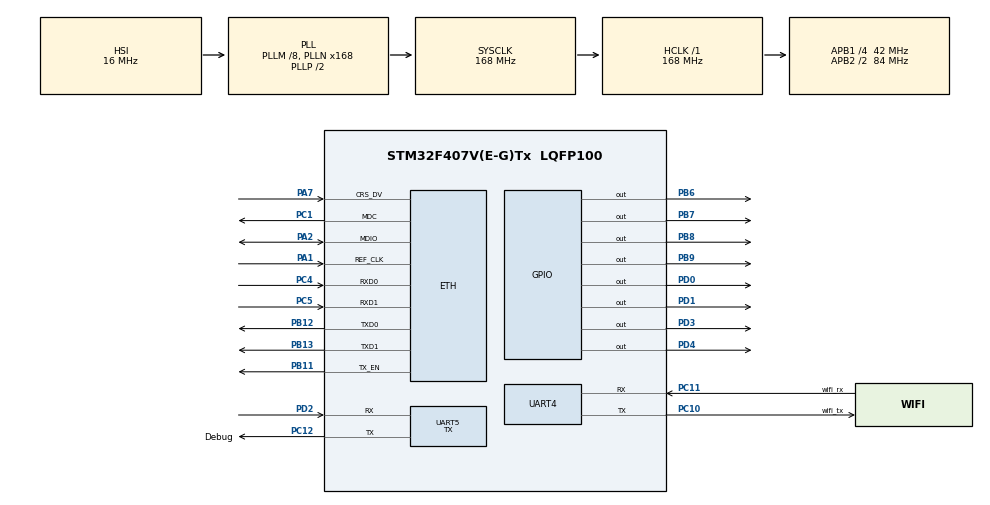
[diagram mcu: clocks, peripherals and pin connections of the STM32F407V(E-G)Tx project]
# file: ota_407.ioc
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Dma.Request0=UART4_RX
Dma.UART4_RX.0.Direction=DMA_PERIPH_TO_MEMORY
Dma.UART4_RX.0.FIFOMode=DMA_FIFOMODE_DISABLE
Dma.UART4_RX.0.Instance=DMA1_Stream2
Dma.UART4_RX.0.MemDataAlignment=DMA_MDATAALIGN_BYTE
Dma.UART4_RX.0.MemInc=DMA_MINC_ENABLE
Dma.UART4_RX.0.Mode=DMA_NORMAL
Dma.UART4_RX.0.PeriphDataAlignment=DMA_PDATAALIGN_BYTE
Dma.UART4_RX.0.PeriphInc=DMA_PINC_DISABLE
Dma.UART4_RX.0.Priority=DMA_PRIORITY_LOW
ETH.MACAddr=C0\:25\:A5\:7D\:C5\:85
ETH.MediaInterface=ETH_MEDIA_INTERFACE_RMII
ETH.PHY_Name_RMII=DP83848_PHY_ADDRESS
ETH.RxMode=ETH_RXINTERRUPT_MODE
FREERTOS.Tasks01=defaultTask,24,2256,StartDefaultTask,Default,NULL,Dynamic,NULL,NULL
FREERTOS.configTOTAL_HEAP_SIZE=0xC100
FREERTOS.configUSE_IDLE_HOOK=1
FREERTOS.configUSE_NEWLIB_REENTRANT=1
FREERTOS.configUSE_TICK_HOOK=1
LWIP.CHECKSUM_CHECK_UDP=1
LWIP.CHECKSUM_GEN_UDP=1
LWIP.GATEWAY_ADDRESS=192.168.020.001
LWIP.IP_ADDRESS=192.168.020.191
LWIP.LWIP_DHCP=0
LWIP.LWIP_TFTP=1
LWIP.NETMASK_ADDRESS=255.255.255.000
LWIP.Version=v2.1.2_Cube
Mcu.Family=STM32F4
Mcu.Name=STM32F407V(E-G)Tx
Mcu.Package=LQFP100
NVIC.DMA1_Stream2_IRQn=true\:5\:0\:false\:false\:true\:true\:false\:true
NVIC.ETH_IRQn=true\:5\:0\:false\:false\:true\:true\:false\:true
NVIC.PriorityGroup=NVIC_PRIORITYGROUP_4
NVIC.UART4_IRQn=true\:5\:0\:false\:false\:true\:true\:true\:true
PA1.Mode=RMII
PA1.Signal=ETH_REF_CLK
PA2.Mode=RMII
PA2.Signal=ETH_MDIO
PA7.Mode=RMII
PA7.Signal=ETH_CRS_DV
PB11.Mode=RMII
PB11.Signal=ETH_TX_EN
PB12.Mode=RMII
PB12.Signal=ETH_TXD0
PB13.Mode=RMII
PB13.Signal=ETH_TXD1
PB6.Signal=GPIO_Output
PB7.Signal=GPIO_Output
PB8.Signal=GPIO_Output
PB9.Signal=GPIO_Output
PC1.Mode=RMII
PC1.Signal=ETH_MDC
PC10.GPIO_Label=wifi_tx
PC10.Mode=Asynchronous
PC10.Signal=UART4_TX
PC11.GPIO_Label=wifi_rx
PC11.Mode=Asynchronous
PC11.Signal=UART4_RX
PC12.GPIO_Label=Debug
PC12.Mode=Asynchronous
PC12.Signal=UART5_TX
PC4.Mode=RMII
PC4.Signal=ETH_RXD0
PC5.Mode=RMII
PC5.Signal=ETH_RXD1
PD0.Signal=GPIO_Output
PD1.Signal=GPIO_Output
PD2.Mode=Asynchronous
PD2.Signal=UART5_RX
PD3.Signal=GPIO_Output
PD4.Signal=GPIO_Output
ProjectManager.HeapSize=0x200
ProjectManager.StackSize=0x400
ProjectManager.TargetToolchain=STM32CubeIDE
RCC.48MHZClocksFreq_Value=84000000
RCC.AHBFreq_Value=168000000
RCC.APB1CLKDivider=RCC_HCLK_DIV4
RCC.APB1Freq_Value=42000000
RCC.APB1TimFreq_Value=84000000
RCC.APB2CLKDivider=RCC_HCLK_DIV2
RCC.APB2Freq_Value=84000000
RCC.APB2TimFreq_Value=168000000
RCC.CortexFreq_Value=168000000
RCC.HCLKFreq_Value=168000000
RCC.HSE_VALUE=25000000
RCC.HSI_VALUE=16000000
RCC.LSE_VALUE=32768
RCC.PLLM=8
RCC.PLLN=168
RCC.SYSCLKFreq_VALUE=168000000
RCC.SYSCLKSource=RCC_SYSCLKSOURCE_PLLCLK
RCC.VCOOutputFreq_Value=336000000
UART4.VirtualMode=Asynchronous
UART5.Mode=MODE_TX
UART5.VirtualMode=Asynchronous
VP_FREERTOS_VS_CMSIS_V2.Mode=CMSIS_V2
VP_LWIP_VS_Enabled.Mode=Enabled
board=custom

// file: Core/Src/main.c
/* USER CODE BEGIN Header */
/**
  ******************************************************************************
  * @file           : main.c
  * @brief          : Main program body
  ******************************************************************************
  * @attention
  *
  * Copyright (c) 2023 STMicroelectronics.
  * All rights reserved.
  *
  * This software is licensed under terms that can be found in the LICENSE file
  * in the root directory of this software component.
  * If no LICENSE file comes with this software, it is provided AS-IS.
  *
  ******************************************************************************
  */
/* USER CODE END Header */
#include "main.h"
#include "cmsis_os.h"
#include "lwip.h"

/* USER CODE BEGIN Includes */
#include "tftp_server.h"
/* USER CODE END Includes */

UART_HandleTypeDef huart4;
UART_HandleTypeDef huart5;
DMA_HandleTypeDef hdma_uart4_rx;

/* Definitions for defaultTask */
osThreadId_t defaultTaskHandle;
const osThreadAttr_t defaultTask_attributes = {
  .name = "defaultTask",
  .stack_size = 2256 * 4,
  .priority = (osPriority_t) osPriorityNormal,
};

void SystemClock_Config(void);
static void MX_GPIO_Init(void);
static void MX_DMA_Init(void);
static void MX_UART4_Init(void);
static void MX_UART5_Init(void);
void StartDefaultTask(void *argument);

/* USER CODE BEGIN 0 */

#define FLASH_PROGRAM_ADDR						(0x08020000)
#define FLASH_JUMP_ADDR							(FLASH_PROGRAM_ADDR)
#define FLASH_OTAFLAG_ADDR						(0x0805FFF0)
#define FLASH_FILESIZE_ADDR						(0x0805FF00)
typedef  void (*pFunction)(void);
pFunction jump_to_application;
uint32_t jump_address;
/*!
* @brief 跳转到应用程序段
*        执行条件：无
* @param[in1] : 用户代码起始地址.
*
* @retval: �?????
*/
void jump_to_app(uint32_t app_addr)
{
    //printf("app_addr=%X=%X=%X=%X\n",app_addr, *(__IO uint32_t*)app_addr, *(__IO uint32_t*)(app_addr+4), ((*(__IO uint32_t*)app_addr) & 0x2FFE0000 ));
    /* Check if valid stack address (RAM address) then jump to user application */
    //if (((*(__IO uint32_t*)app_addr) & 0x2FFE0000 ) == 0x20020000)
    {
      /* Jump to user application */
      jump_address = *((__IO uint32_t*) (app_addr + 4));
      jump_to_application = (pFunction) jump_address;

      /* Initialize user application's Stack Pointer */
      __set_MSP(*(__IO uint32_t*) jump_address);
      jump_to_application();
    }

}

/* USER CODE END 0 */

int main(void)
{

  /* MCU Configuration--------------------------------------------------------*/

  /* Reset of all peripherals, Initializes the Flash interface and the Systick. */
  HAL_Init();

  /* USER CODE BEGIN Init */
  if(*(__IO uint8_t*)(FLASH_OTAFLAG_ADDR) == 0x33)
  {
	  if(((FLASH_JUMP_ADDR+4)&0xFF000000)==0x08000000) //Judge if start at 0X08XXXXXX.
	{

		jump_to_app(FLASH_JUMP_ADDR);//Load APP
	}
  }
  /* USER CODE END Init */

  /* Configure the system clock */
  SystemClock_Config();

  /* Initialize all configured peripherals */
  MX_GPIO_Init();
  MX_DMA_Init();
  MX_UART4_Init();
  MX_UART5_Init();
  /* USER CODE BEGIN 2 */
  printf("start bootloader...\n");

  /* USER CODE END 2 */

  /* Init scheduler */
  osKernelInitialize();

  /* Create the thread(s) */
  /* creation of defaultTask */
  defaultTaskHandle = osThreadNew(StartDefaultTask, NULL, &defaultTask_attributes);

  /* Start scheduler */
  osKernelStart();

  /* We should never get here as control is now taken by the scheduler */
  /* Infinite loop */
  while (1)
  {

  }
}

void SystemClock_Config(void)
{
  RCC_OscInitTypeDef RCC_OscInitStruct = {0};
  RCC_ClkInitTypeDef RCC_ClkInitStruct = {0};

  /** Configure the main internal regulator output voltage
  */
  __HAL_RCC_PWR_CLK_ENABLE();
  __HAL_PWR_VOLTAGESCALING_CONFIG(PWR_REGULATOR_VOLTAGE_SCALE1);
  /** Initializes the RCC Oscillators according to the specified parameters
  * in the RCC_OscInitTypeDef structure.
  */
  RCC_OscInitStruct.OscillatorType = RCC_OSCILLATORTYPE_HSI;
  RCC_OscInitStruct.HSIState = RCC_HSI_ON;
  RCC_OscInitStruct.HSICalibrationValue = RCC_HSICALIBRATION_DEFAULT;
  RCC_OscInitStruct.PLL.PLLState = RCC_PLL_ON;
  RCC_OscInitStruct.PLL.PLLSource = RCC_PLLSOURCE_HSI;
  RCC_OscInitStruct.PLL.PLLM = 8;
  RCC_OscInitStruct.PLL.PLLN = 168;
  RCC_OscInitStruct.PLL.PLLP = RCC_PLLP_DIV2;
  RCC_OscInitStruct.PLL.PLLQ = 4;
  if (HAL_RCC_OscConfig(&RCC_OscInitStruct) != HAL_OK)
  {
    Error_Handler();
  }
  /** Initializes the CPU, AHB and APB buses clocks
  */
  RCC_ClkInitStruct.ClockType = RCC_CLOCKTYPE_HCLK|RCC_CLOCKTYPE_SYSCLK
                              |RCC_CLOCKTYPE_PCLK1|RCC_CLOCKTYPE_PCLK2;
  RCC_ClkInitStruct.SYSCLKSource = RCC_SYSCLKSOURCE_PLLCLK;
  RCC_ClkInitStruct.AHBCLKDivider = RCC_SYSCLK_DIV1;
  RCC_ClkInitStruct.APB1CLKDivider = RCC_HCLK_DIV4;
  RCC_ClkInitStruct.APB2CLKDivider = RCC_HCLK_DIV2;

  if (HAL_RCC_ClockConfig(&RCC_ClkInitStruct, FLASH_LATENCY_5) != HAL_OK)
  {
    Error_Handler();
  }
}

static void MX_UART4_Init(void)
{

  huart4.Instance = UART4;
  huart4.Init.BaudRate = 115200;
  huart4.Init.WordLength = UART_WORDLENGTH_8B;
  huart4.Init.StopBits = UART_STOPBITS_1;
  huart4.Init.Parity = UART_PARITY_NONE;
  huart4.Init.Mode = UART_MODE_TX_RX;
  huart4.Init.HwFlowCtl = UART_HWCONTROL_NONE;
  huart4.Init.OverSampling = UART_OVERSAMPLING_16;
  if (HAL_UART_Init(&huart4) != HAL_OK)
  {
    Error_Handler();
  }
  /* USER CODE BEGIN UART4_Init 2 */
  __HAL_UART_ENABLE_IT(&huart4, UART_IT_IDLE);
   HAL_UART_Receive_DMA(&huart4, uart4_rx_buffer, UART4_BUF_SIZE);//打开DMA接收，数据存入rx_buffer数组中�??
  /* USER CODE END UART4_Init 2 */

}

static void MX_UART5_Init(void)
{

  huart5.Instance = UART5;
  huart5.Init.BaudRate = 115200;
  huart5.Init.WordLength = UART_WORDLENGTH_8B;
  huart5.Init.StopBits = UART_STOPBITS_1;
  huart5.Init.Parity = UART_PARITY_NONE;
  huart5.Init.Mode = UART_MODE_TX;
  huart5.Init.HwFlowCtl = UART_HWCONTROL_NONE;
  huart5.Init.OverSampling = UART_OVERSAMPLING_16;
  if (HAL_UART_Init(&huart5) != HAL_OK)
  {
    Error_Handler();
  }

}

static void MX_DMA_Init(void)
{

  /* DMA controller clock enable */
  __HAL_RCC_DMA1_CLK_ENABLE();

  /* DMA interrupt init */
  /* DMA1_Stream2_IRQn interrupt configuration */
  HAL_NVIC_SetPriority(DMA1_Stream2_IRQn, 5, 0);
  HAL_NVIC_EnableIRQ(DMA1_Stream2_IRQn);

}

static void MX_GPIO_Init(void)
{
  GPIO_InitTypeDef GPIO_InitStruct = {0};

  /* GPIO Ports Clock Enable */
  __HAL_RCC_GPIOC_CLK_ENABLE();
  __HAL_RCC_GPIOA_CLK_ENABLE();
  __HAL_RCC_GPIOB_CLK_ENABLE();
  __HAL_RCC_GPIOD_CLK_ENABLE();

  /*Configure GPIO pin Output Level */
  HAL_GPIO_WritePin(GPIOD, GPIO_PIN_0|GPIO_PIN_1|GPIO_PIN_3|GPIO_PIN_4, GPIO_PIN_RESET);

  /*Configure GPIO pin Output Level */
  HAL_GPIO_WritePin(GPIOB, GPIO_PIN_6|GPIO_PIN_7|GPIO_PIN_8|GPIO_PIN_9, GPIO_PIN_RESET);

  /*Configure GPIO pins : PD0 PD1 PD3 PD4 */
  GPIO_InitStruct.Pin = GPIO_PIN_0|GPIO_PIN_1|GPIO_PIN_3|GPIO_PIN_4;
  GPIO_InitStruct.Mode = GPIO_MODE_OUTPUT_PP;
  GPIO_InitStruct.Pull = GPIO_NOPULL;
  GPIO_InitStruct.Speed = GPIO_SPEED_FREQ_LOW;
  HAL_GPIO_Init(GPIOD, &GPIO_InitStruct);

  /*Configure GPIO pins : PB6 PB7 PB8 PB9 */
  GPIO_InitStruct.Pin = GPIO_PIN_6|GPIO_PIN_7|GPIO_PIN_8|GPIO_PIN_9;
  GPIO_InitStruct.Mode = GPIO_MODE_OUTPUT_PP;
  GPIO_InitStruct.Pull = GPIO_NOPULL;
  GPIO_InitStruct.Speed = GPIO_SPEED_FREQ_LOW;
  HAL_GPIO_Init(GPIOB, &GPIO_InitStruct);

}

/* USER CODE BEGIN 4 */

uint32_t writedata_to_flash(uint8_t *data, uint32_t len, uint32_t address)
{
	uint32_t i = 0, temp;

	HAL_FLASH_Unlock();
	for(i = 0; i < len; i++)
	{
		if (HAL_FLASH_Program(FLASH_TYPEPROGRAM_BYTE, (uint32_t)address, *data) == HAL_OK)
		{
			address = address + 1;
			data = data + 1;
		}
		else
		{
			return -1;
		}

	}

	HAL_FLASH_Lock();

	return address;
 }

int8_t erase_flash(uint32_t sector_start, uint32_t sector_end)
{
	 FLASH_EraseInitTypeDef EraseInitStruct;
	 uint32_t SECTORError = 0;
     // sector 5  0x08020000 - 0x0803FFFF
	 // sector 6  0x08040000 - 0x0805FFFF
	 // sector 7  0x08060000 - 0x0807FFFF
	 // sector 8  0x08080000 - 0x0809FFFF
	 // sector 9  0x080A0000 - 0x080BFFFF
	 // sector 10 0x080C0000 - 0x080DFFFF
	 // sector 11 0x080E0000 - 0x080FFFFF
	 HAL_FLASH_Unlock();
	 EraseInitStruct.TypeErase     = FLASH_TYPEERASE_SECTORS;
	 EraseInitStruct.VoltageRange  = FLASH_VOLTAGE_RANGE_3;
	 EraseInitStruct.Sector        = sector_start;
	 EraseInitStruct.NbSectors     = sector_end;
	 if (HAL_FLASHEx_Erase(&EraseInitStruct, &SECTORError) != HAL_OK)
	 {
		 return -1;
	 }
	 HAL_FLASH_Lock();
 }

#include <stdio.h>
#include <stdlib.h>
#include <string.h>
#include <errno.h>
#include "md5.h"

uint32_t readsize = 0;
uint32_t writesize = 0;
uint8_t cmdflag = 0;
static void* tftp_open(const char* fname, const char* mode, u8_t is_write, u32_t filesize)
{
  LWIP_UNUSED_ARG(mode);
  if(*(uint8_t*)fname == 'E')
	  cmdflag = 1;
  else if(*(uint8_t*)fname == 'R')
	  cmdflag = 2;
  else if(*(uint8_t*)fname == 'W')
	  cmdflag = 3;
  else if(*(uint8_t*)fname == 'M')
  	  cmdflag = 4;
  else if(*(uint8_t*)fname == 'D')
  	  cmdflag = 5;
  else if(*(uint8_t*)fname == 'F')
  	  cmdflag = 6;
  else if(*(uint8_t*)fname == 'A')
  	  cmdflag = 7;
  else if(*(uint8_t*)fname == 'S')
  	  cmdflag = 8;
  printf("send start:%s is_write = %d cmdflag = %d - %c\n", fname, is_write, cmdflag, *(uint8_t*)fname);
  return 1;
}

static void tftp_close(void* handle)
{
	printf("send over\n");
}

uint32_t readaddr = 0;
unsigned char decrypt[16];
static int tftp_read(void* handle, void* buf, int bytes)
{
	if(cmdflag == 0x02){
		if(readaddr < (readsize - 512) )
		{
			memcpy(buf, FLASH_PROGRAM_ADDR + readaddr, 512);
			readaddr += 512;
			bytes = 512;
		}
		else
		{
			memcpy(buf, FLASH_PROGRAM_ADDR + readaddr, readsize - readaddr);
			readaddr += readsize - readaddr;
			bytes = readsize - readaddr;
			printf("read over readaddr = %d , bytes = %d\n", readaddr, bytes);
			readaddr = 0;
			cmdflag = 0;
		}
	}
	else if(cmdflag == 0x07){
		if(readaddr < (0xE0000 - 512) )
		{
			memcpy(buf, FLASH_PROGRAM_ADDR + readaddr, 512);
			readaddr += 512;
			bytes = 512;
		}
		else
		{
			memcpy(buf, FLASH_PROGRAM_ADDR + readaddr, 0xE0000 - readaddr);
			readaddr += 0xE0000 - readaddr;
			bytes = 0xE0000 - readaddr;
			printf("read over readaddr = %d , bytes = %d\n", readaddr, bytes);
			readaddr = 0;
			cmdflag = 0;
		}
	}
	else if(cmdflag == 0x04){
		printf("start md5 checksum\n");
		memcpy(buf, "md5", 3);
		bytes = 3;

	}
	else if(cmdflag == 0x05){
		printf("return md5 checksum\n");
		for(int i=0; i<16; i++) {
			printf("%02x", decrypt[i]);
		}
		printf("\n");
		memcpy(buf, decrypt, 16);
		bytes = 16;

	}
	else if(cmdflag == 0x06){
		uint32_t filebytes = 0;
		uint8_t numbuf[12];
	    bzero(numbuf, sizeof(numbuf));
		filebytes = *(__IO uint32_t*)(FLASH_FILESIZE_ADDR);
		sprintf(numbuf, "%d", filebytes);
		printf("filebytes = %d\n", filebytes, filebytes);
		memcpy(buf, numbuf, strlen(numbuf));
		bytes = strlen(numbuf);
		cmdflag = 0;
	}
	else if(cmdflag == 0x01){
		printf("start erase\n");
		memcpy(buf, "erase", 6);
		bytes = 6;

	}
	return bytes;
}

uint8_t tftpbuf[516];
uint8_t k = 0;
uint8_t ota_flag = 0;
uint16_t tftpsn = 0;
uint32_t flashaddr = FLASH_PROGRAM_ADDR;
uint32_t count = 0;

static int tftp_write(void* handle, struct pbuf* p)
{
	if(cmdflag == 0x03){
		ota_flag = 0x33;
	}
	else if(cmdflag == 0x08){
		ota_flag = 0x77;
	}
	else
	{
		memcpy(tftpbuf, p->payload, p->len);
		flashaddr = writedata_to_flash(tftpbuf, p->len, flashaddr);
		count = count + p->len;
		if(p->len < 512)
		{
			printf("count = %d len = %d\n", count, p->len);
			ota_flag = 0x3F;
			writesize = count;
			readsize = count;
			count = 0;
			cmdflag = 0;
		}
	}

    return 0;
}

const struct tftp_context tftp = {
		tftp_open,
		tftp_close,
		tftp_read,
		tftp_write,
};

#ifdef __GNUC__
  /* With GCC/RAISONANCE, small printf (option LD Linker->Libraries->Small printf
     set to 'Yes') calls __io_putchar() */
  #define PUTCHAR_PROTOTYPE int __io_putchar(int ch)
#else
  #define PUTCHAR_PROTOTYPE int fputc(int ch, FILE *f)
#endif /* __GNUC__ */
/**
  * @brief  Retargets the C library printf function to the USART.
  * @param  None
  * @retval None
  */
PUTCHAR_PROTOTYPE
{
  /* Place your implementation of fputc here */
  /* e.g. write a character to the EVAL_COM1 and Loop until the end of transmission */
  HAL_UART_Transmit(&huart5, (uint8_t *)&ch, 1, 0xFFFF);

  return ch;
}

volatile  uint16_t  uart4_rx_len;
volatile  uint8_t   uart4_recv_end_flag;
          uint8_t   uart4_rx_buffer[UART4_BUF_SIZE];
TaskHandle_t   wifiClientTaskHandle;

char * at_okip_str = "OKIP\r\n";
char * at_busy_str = "busy p...\r\n";
char * at_ok_str = "OK\r\n";
char * at_error_str = "ERROR\r\n";
char * at_conn_str = "CONNECT\r\n";
char * at_aready_conn_str = "ALREADY CONNECTED\r\n";
char * at_closed_str = "CLOSED\r\n";
char * at_wifi_disconn_str = "WIFI DISCONNECT\r\n"; // 5 disconnect AP
char * at_wifi_conn_str = "WIFI CONNECT\r\n"; // 5 disconnect AP
char * at_wifi_getip_str = "WIFI GOT IP\r\n"; // 2 connect AP

char * at_cwmode_val1_str = "+CWMODE:1\r\n";
char * at_cwmode_val2_str = "+CWMODE:2\r\n";
char * at_cwmode_val3_str = "+CWMODE:3\r\n";

char * at_cipmode_val1_str = "+CIPMODE:1\r\n";
char * at_cipmode_val0_str = "+CIPMODE:0\r\n";

char * at_cifsr_ack_ip_str = "+CIFSR:STAIP,\"0.0.0.0\"\r\n";

char * at_cipstatus0_str = ",0\r\n";
char * at_wifi_status2_str = "STATUS:2\r\n"; // 2 connect AP
char * at_wifi_status3_str = "STATUS:3\r\n"; // 3 connect TCP
char * at_wifi_status4_str = "STATUS:4\r\n"; // 4 disconnect TCP
char * at_wifi_status5_str = "STATUS:5\r\n"; // 5 disconnect AP

char ssid_buf[20];
char pwd_buf[20];
char cwjap_buf[100];
char * at_cwjap_ack1_str = "+CWJAP:1\r\n"; // 1 timeout
char * at_cwjap_ack2_str = "+CWJAP:2\r\n"; // 2 passwd error,
char * at_cwjap_ack3_str = "+CWJAP:3\r\n"; // 3 no AP,
char * at_cwjap_ack4_str = "+CWJAP:4\r\n"; // 4 connect fail

char ip_buf[16];
char sip_buf[16];
char port_buf[6];
char cipstart_buf[100];

uint8_t at_rxbuf[UART4_BUF_SIZE];
uint8_t modbus_tx_buf[516];
uint16_t at_txsize = 0;
uint16_t at_rxcnt = 0;
typedef enum{
	STATE_AT_3PLUS_TX = 0,
	STATE_AT_RST_TX,
	STATE_AT_CWMODE_GET_TX,
	STATE_AT_CWMODE_SET_TX,
	STATE_AT_CIPMODE_GET_TX,
	STATE_AT_CIPMODE_SET_TX,
	STATE_AT_CIFSR_TX,
	STATE_AT_CIPSTATUS_TX,
	STATE_AT_CWJAP_TX,
	STATE_AT_CIPSTART_TX,
	STATE_AT_CIPSEND_TX,
	STATE_AT_CIPTRANS_TX,
	STATE_AT_PLUS3_TX,
	STATE_AT_NONE
}STATE_t;

STATE_t at_state_tx = STATE_AT_3PLUS_TX;
STATE_t at_state_rx = STATE_AT_3PLUS_TX;
void wifi_at_proc(uint8_t * rxbuf, uint16_t rxlen);
void wifi_at_send(void);
void wifi_uart_send(uint8_t * txbuf, uint16_t len);
void at_cifsr_send(void);
extern DEV_CONFIG  config;

void print_hex(uint8_t * buf, uint16_t len)
{
	uint16_t i = 0;

	for(i = 0; i < len; i++)
		printf("%02X", buf[i]);
	printf("\r\n");
}

uint8_t wifi_tftpbuf[516];
uint8_t wifi_cmdflag = 0;
uint32_t wifi_flashaddr = FLASH_PROGRAM_ADDR;
uint32_t  wifi_count = 0;
uint16_t  wifi_sn= 0;
uint16_t  wifi_wsn= 0;
uint32_t wifi_readaddr = 0;
uint32_t wifi_readsize = 0;
uint32_t wifi_writesize = 0;
uint8_t wifi_ota_flag = 0;
unsigned char wifi_decrypt[16];
void wifiClientTask(void *pvParameters)
{
#if LOG_PRINTF_DEF
	LogPrint("wifiClientTask start");
#else
	printf("wifiClientTask start\r\n");
#endif

	printf("wait wifi for connect ...\r\n");
	readConfig();//读出配置
	bzero(ssid_buf, 20);
	bzero(pwd_buf, 20);
	bzero(ip_buf, 16);
	bzero(sip_buf, 16);
	bzero(port_buf, 6);
	memcpy(ssid_buf, config.wifi_info.ssid, 20);
	memcpy(pwd_buf, config.wifi_info.pwd, 20);
	memcpy(ip_buf, config.wifi_ip.wip, 16);
	memcpy(sip_buf, config.wifi_ip.wsip, 16);
	memcpy(port_buf, config.wifi_ip.wport, 6);
	printf("ssid:%s pwd:%s ip:%s sip:%s port:%s\r\n", ssid_buf, pwd_buf, ip_buf, sip_buf, port_buf);
	bzero(cwjap_buf, 100);
	bzero(cipstart_buf, 100);
	snprintf(cwjap_buf, sizeof(cwjap_buf), "AT+CWJAP=\"%s\",\"%s\"\r\n", ssid_buf, pwd_buf);
	//snprintf(cipstart_buf, sizeof(cipstart_buf), "AT+CIPSTART=\"TCP\",\"%s\",%s\r\n", ip_buf, port_buf);
	snprintf(cipstart_buf, sizeof(cipstart_buf), "AT+CIPSTART=\"UDP\",\"%s\",3355,69,0\r\n", sip_buf);
	uart4_recv_end_flag = 1;
	vTaskDelay(1000);

	wifi_ota_flag = *(__IO uint8_t*)(FLASH_OTAFLAG_ADDR);
	wifi_readsize = *(__IO uint32_t*)(FLASH_FILESIZE_ADDR);
	printf("reset wifi_ota_flag = %d\n", wifi_ota_flag);
	printf("reset wifi_readsize = %d\n", wifi_readsize);
	uint16_t ledcnt = 0;
    while (1)
    {
    	if(uart4_recv_end_flag == 1)   // 结束标志
		{
			bzero(at_rxbuf, UART4_BUF_SIZE);
			memcpy(at_rxbuf, uart4_rx_buffer, uart4_rx_len);
			bzero(uart4_rx_buffer, UART4_BUF_SIZE);
			if(STATE_AT_CIPTRANS_TX != at_state_rx)
				printf("%s\r\n=%d\r\n", at_rxbuf, at_state_rx);
			//else
				//print_hex(at_rxbuf, uart4_rx_len);
			wifi_at_proc(at_rxbuf, uart4_rx_len);
			uart4_recv_end_flag=0;
			uart4_rx_len=0;
			at_rxcnt = 0;
			wifi_at_send();
			HAL_UART_Receive_DMA(&huart4, uart4_rx_buffer, UART4_BUF_SIZE);
		}

    	if(STATE_AT_CIPTRANS_TX != at_state_rx)
    	{

    		if(STATE_AT_RST_TX == at_state_rx)
			{
				if(at_rxcnt++ > 4)
				{
					at_state_tx = STATE_AT_CWMODE_GET_TX;
					at_rxcnt = 0;
					uart4_recv_end_flag = 1;
				}
			}
			else if((STATE_AT_CIPTRANS_TX > at_state_rx) && (STATE_AT_CWMODE_GET_TX < at_state_rx))
			{
				if(at_rxcnt++ > 40)
				{
					at_state_tx = STATE_AT_CIPMODE_GET_TX;
					at_rxcnt = 0;
					uart4_recv_end_flag = 1;
				}
			}
			else
				at_rxcnt = 0;
    		vTaskDelay(500);
    	}
    	else
    	{
    		vTaskDelay(10);
    	}

		if(wifi_cmdflag == 0x01){
			wifi_ota_flag = 0x30;
			wifi_cmdflag = 0;
		 }

		 if(wifi_cmdflag == 0x04){
			int i, k, len;
			unsigned char encrypt[1024];
			MD5_CTX md5;

			wifi_readsize = *(__IO uint32_t*)(FLASH_FILESIZE_ADDR);
			printf("wifi_readsize= %d\n", wifi_readsize);

			if(wifi_readsize <= 0x00040000){
				printf("wifi_md5 checking\n");
				MD5Init(&md5);

				for(i = 0; i < wifi_readsize - 1024; i = i + 1024){
					memcpy(encrypt, (uint8_t*)(FLASH_PROGRAM_ADDR + i), 1024);
					//for(k=0; k<1024; k++) {
					//	printf("%02x", encrypt[k]);
					//}
					//printf(" i = %d\n", i);
					MD5Update(&md5, encrypt, 1024);
				}
				printf("i = %d\n", i);
				printf("wifi_readsize - i = %d\n", wifi_readsize - i);

				memcpy(encrypt, (uint8_t*)(FLASH_PROGRAM_ADDR + i), wifi_readsize - i);
				for(k=0; k<(wifi_readsize - i); k++) {
					printf("%02x", encrypt[k]);
				}

				MD5Update(&md5, encrypt, wifi_readsize - i);
				MD5Final(&md5, wifi_decrypt);
			}

			printf("wifi_decrypt:");
			for(i=0; i<16; i++) {
				printf("%02x", wifi_decrypt[i]);
			}
			printf("\n");

			wifi_cmdflag = 0;
		 }

		 if(wifi_ota_flag == 0x11)
		 {
			 HAL_GPIO_WritePin(GPIOD, GPIO_PIN_0, GPIO_PIN_RESET);  	osDelay(250);
			 erase_flash(5, 6);
			 printf("wifi  erase ok block 5 and block 6 \n");
			 wifi_ota_flag = *(__IO uint8_t*)(FLASH_OTAFLAG_ADDR);
			 printf("wifi ota_flag = %X\n",wifi_ota_flag);
		 }
		 else if(wifi_ota_flag == 0xFF)
		 {
			 HAL_GPIO_WritePin(GPIOD, GPIO_PIN_1, GPIO_PIN_RESET);  osDelay(250);
			 wifi_ota_flag = 0x7F;
			 printf("wait wifi write or read ok \n");
		 }
		 else if(wifi_ota_flag == 0x7F)
		 {
			 if(ledcnt++ == 100){
				 HAL_GPIO_WritePin(GPIOD, GPIO_PIN_1, GPIO_PIN_RESET);
			 }
			 else if(ledcnt++ == 200){
				 HAL_GPIO_WritePin(GPIOD, GPIO_PIN_1, GPIO_PIN_SET);
				 ledcnt = 0;
			 }
		 }
		 else if(wifi_ota_flag == 0x3F)
		 {
			 printf("wifi_writesize = %d\n", wifi_writesize);
			 writedata_to_flash(&wifi_writesize, 4, FLASH_FILESIZE_ADDR);
			 printf("wifi_readsize = %d\n", wifi_readsize);
			 wifi_readsize = *(__IO uint32_t*)(FLASH_FILESIZE_ADDR);
			 printf("wifi_readsize = %d\n", wifi_readsize);
			 wifi_ota_flag = 0x37;
		 }
		 else if(wifi_ota_flag == 0x37)
		 {
			 if(ledcnt++ == 100){
				 HAL_GPIO_WritePin(GPIOD, GPIO_PIN_1, GPIO_PIN_RESET);
			 }
			 else if(ledcnt++ == 200){
				 HAL_GPIO_WritePin(GPIOD, GPIO_PIN_1, GPIO_PIN_SET);
				 ledcnt = 0;
			 }
		 }
		 else if(wifi_ota_flag == 0x33)
		 {
			printf("wifi_ota_flag = %X\n", wifi_ota_flag);
			writedata_to_flash(&wifi_ota_flag, 1, FLASH_OTAFLAG_ADDR);
			wifi_ota_flag = *(__IO uint8_t*)(FLASH_OTAFLAG_ADDR);
			printf("write wifi_ota_flag = %X\n", wifi_ota_flag);
			printf("reset wifi_device for bootloader to app\n");
			osDelay(1000);printf("3\n");
			osDelay(1000);printf("2\n");
			osDelay(1000);printf("1\n");
			osDelay(1000);printf("0\n");
			osDelay(1000);printf(".\n");
			HAL_NVIC_SystemReset();
		 }
		 else if(wifi_ota_flag == 0x77)
		 {
			printf("reset wifi_device\n");
			osDelay(1000);printf("3\n");
			osDelay(1000);printf("2\n");
			osDelay(1000);printf("1\n");
			osDelay(1000);printf("0\n");
			osDelay(1000);printf(".\n");
			HAL_NVIC_SystemReset();
		 }
		 else
		 {
			 wifi_ota_flag = 0x11;
		 }
    }

#if LOG_PRINTF_DEF
	LogPrint("wifiClientTask exit");
#else
	printf("wifiClientTask exit\r\n");
#endif

    vTaskDelete(NULL);

}

void wifi_uart_send(uint8_t * txbuf, uint16_t len)
{
	HAL_UART_Transmit(&huart4, txbuf, len, 50);
}

void at_reset_send(void)
{
	wifi_uart_send("AT+RST\r\n", sizeof("AT+RST\r\n"));
}

void at_cwmode_get_send(void)
{
	wifi_uart_send("AT+CWMODE?\r\n", sizeof("AT+CWMODE?\r\n"));
}

void at_cwmode_set_send(void)
{
	wifi_uart_send("AT+CWMODE=1\r\n", sizeof("AT+CWMODE=1\r\n"));
}

void at_cipmode_get_send(void)
{
	wifi_uart_send("AT+CIPMODE?\r\n", sizeof("AT+CIPMODE?\r\n"));
}

void at_cipmode_set_send(void)
{
	wifi_uart_send("AT+CIPMODE=1\r\n", sizeof("AT+CIPMODE=1\r\n"));
}

void at_cifsr_send(void)
{
	wifi_uart_send("AT+CIFSR\r\n", sizeof("AT+CIFSR\r\n"));
}

void at_cipstatus_send(void)
{
	wifi_uart_send("AT+CIPSTATUS\r\n", sizeof("AT+CIPSTATUS\r\n"));
}

void at_cwjap_send(void)
{
	// append ssid and password
	wifi_uart_send(cwjap_buf, strlen(cwjap_buf));
}

void at_cipstart_send(void)
{
	// append ip address
	wifi_uart_send(cipstart_buf, strlen(cipstart_buf));

}

void at_cipsend_send(void)
{
	wifi_uart_send("AT+CIPSEND\r\n", sizeof("AT+CIPSEND\r\n"));
}

void at_plus3_send(void)
{
	wifi_uart_send("+++", 3);
}

void at_modbus_send_data(void)
{
	wifi_uart_send(modbus_tx_buf, at_txsize);
	//osDelay(200);
	//wifi_uart_send(modbus_tx_buf, at_txsize);
	//osDelay(200);
}

void wifi_at_send(void)
{
	switch(at_state_tx)
	{
		case STATE_AT_3PLUS_TX:// 0 send +++ quit transfer mode
			at_plus3_send();
			at_state_rx = STATE_AT_3PLUS_TX;
		break;
		case STATE_AT_RST_TX:// 1 send reset
			at_reset_send();
			at_state_rx = STATE_AT_RST_TX;
		break;
		case STATE_AT_CWMODE_GET_TX:// 2 send cwmode? ap mode
			at_cwmode_get_send();
			at_state_rx = STATE_AT_CWMODE_GET_TX;
		break;
		case STATE_AT_CWMODE_SET_TX:// 3 set ap mode
			at_cwmode_set_send();
			at_state_rx = STATE_AT_CWMODE_SET_TX;
		break;
		case STATE_AT_CIPMODE_GET_TX:// 4 send cipmode? transfer mode
			at_cipmode_get_send();
			at_state_rx = STATE_AT_CIPMODE_GET_TX;
		break;
		case STATE_AT_CIPMODE_SET_TX:// 5 set transfer mode
			at_cipmode_set_send();
			at_state_rx = STATE_AT_CIPMODE_SET_TX;
		break;
		case STATE_AT_CIFSR_TX:// 6 send get ip address infomation
			at_cifsr_send();
			at_state_rx = STATE_AT_CIFSR_TX;
		break;
		case STATE_AT_CIPSTATUS_TX:// 7 send get udp connect infomation
			at_cipstatus_send();
			at_state_rx = STATE_AT_CIPSTATUS_TX;
		break;
		case STATE_AT_CWJAP_TX:// 8 send connect wifi ssid pwd
			at_cwjap_send();
			at_state_rx = STATE_AT_CWJAP_TX;
		break;
		case STATE_AT_CIPSTART_TX:// 9 send start udp connect
			at_cipstart_send();
			at_state_rx = STATE_AT_CIPSTART_TX;
		break;
		case STATE_AT_CIPSEND_TX:// 10 send start transfer data
			at_cipsend_send();
			at_state_rx = STATE_AT_CIPSEND_TX;
		break;
		case STATE_AT_CIPTRANS_TX:// 11 transfer data
			at_modbus_send_data();
			at_state_rx = STATE_AT_CIPTRANS_TX;
		break;
		case STATE_AT_PLUS3_TX:// 12 send +++ quit transfer mode
			at_plus3_send();
			at_state_rx = STATE_AT_PLUS3_TX;
		break;

		default:break;
	}

	at_state_tx = STATE_AT_NONE;

}

static uint8_t str_cmp(char* srcstr, char* dstchar)
{
	char* src1 = NULL;
	char* src2 = NULL;
	char* sub = NULL;

	src1 = srcstr;
	while (*src1 != '\0')
	{
		src2 = src1;
		sub = dstchar;
		do
		{
			if ((*sub == '\n') || (*sub == '\0'))
			{
				return 1;//找到子串
			}
		} while (*src2++ == *sub++);

		src1++;
	}

	return 0;
}

static uint8_t str_cmp2(char* srcstr, char* dstchar)
{
	char* src1 = NULL;
	char* src2 = NULL;
	char* sub = NULL;

	src1 = srcstr;
	while (*src1 != '\0')
	{
		src2 = src1;
		sub = dstchar;
		do
		{
			if (*sub == ',')
			{
				return 1;//找到子串
			}
		} while (*src2++ == *sub++);

		src1++;
	}

	return 0;
}

static uint8_t string_compare(char* srcstr, char* dstchar1, char* dstchar2, char* dstchar3, char* dstchar4 )
{
	uint8_t i = 0;
	uint8_t ret = 0;

	if(NULL != dstchar1)
	{
		if(str_cmp(srcstr, dstchar1))
			ret |= 0x01;
	}

	if(NULL != dstchar2)
	{
		if(str_cmp(srcstr, dstchar2))
			ret |= 0x02;
	}

	if(NULL != dstchar3)
	{
		if(str_cmp(srcstr, dstchar3))
			ret |= 0x04;
	}

	if(NULL != dstchar4)
	{
		if(str_cmp(srcstr, dstchar4))
			ret |= 0x08;
	}

	return ret;
}

STATE_t at_cwmode_get_proc(uint8_t * rxbuf)
{
	STATE_t state_tx = STATE_AT_NONE;

	if(string_compare(rxbuf, at_cwmode_val1_str, NULL, NULL, NULL))     // station
		state_tx = STATE_AT_CIPMODE_GET_TX;
	else if(string_compare(rxbuf, at_cwmode_val2_str, at_cwmode_val3_str, NULL, NULL)) // AP , station-AP
		state_tx = STATE_AT_CWMODE_SET_TX;
	else
	{
		vTaskDelay(3000);
		state_tx = STATE_AT_CWMODE_GET_TX;
	}

	return state_tx;
}

STATE_t at_cipmode_get_proc(uint8_t * rxbuf)
{
	STATE_t state_tx = STATE_AT_NONE;

	if(string_compare(rxbuf, at_cipmode_val1_str, NULL, NULL, NULL))     // transfer
		state_tx = STATE_AT_CIFSR_TX;
	else if(string_compare(rxbuf, at_cipmode_val0_str, NULL, NULL, NULL)) // AT
		state_tx = STATE_AT_CIPMODE_SET_TX;
	else
	{
		vTaskDelay(3000);
		state_tx = STATE_AT_CIPMODE_GET_TX;
	}

	return state_tx;
}
STATE_t at_cifsr_proc(uint8_t * rxbuf)
{
	STATE_t state_tx = STATE_AT_NONE;

	if(string_compare(rxbuf, at_cifsr_ack_ip_str, NULL, NULL, NULL))
	{
		vTaskDelay(3000);
		state_tx = STATE_AT_CWJAP_TX;

	}
	else if(string_compare(rxbuf, at_ok_str, "+CIFSR:STAIP", NULL, NULL))
	{
		//vTaskDelay(3000);
		state_tx = STATE_AT_CIPSTATUS_TX;
	}

	return state_tx;
}

STATE_t at_cipstatus_proc(uint8_t * rxbuf)
{
	STATE_t state_tx = STATE_AT_NONE;

	if(string_compare(rxbuf, at_wifi_status2_str,  NULL, NULL, NULL)) // 2 connect AP, 4 disconnect TCP
	{
		if(string_compare(rxbuf, NULL, "UDP",  NULL, NULL)) //UDP
				state_tx = STATE_AT_CIPSEND_TX;
		else
		{
			vTaskDelay(3000);
			state_tx = STATE_AT_CIPSTART_TX;
		}
	}
	else if(string_compare(rxbuf, at_wifi_status3_str, at_conn_str, NULL, NULL)) // 3 connect TCP
		state_tx = STATE_AT_CIPSEND_TX;
	else if(string_compare(rxbuf, at_wifi_status4_str, at_wifi_status5_str, NULL, NULL)) // 5 disconnect AP
		state_tx = STATE_AT_CWJAP_TX;

	return state_tx;
}

STATE_t at_cipsend_proc(uint8_t * rxbuf)
{
	STATE_t state_tx = STATE_AT_NONE;

	if(string_compare(rxbuf, at_ok_str, NULL, at_busy_str, NULL)) //
	{
		at_state_rx = STATE_AT_CIPTRANS_TX;
	}
	else
	{
		state_tx = STATE_AT_CIPMODE_GET_TX;
	}

	return state_tx;
}

//00 01 46 2E 62 69 6E 00 6F 63 74 65 74 00 F.bin.octet.
//00 02 63 6C 6F 75 64 2E 62 69 6E 00 6F 63 74 65 74 00  cloud.bin.octet.
//00 03 00 01
//00 04 00 01
//00 03 00 02
//00 04 00 02
//00 05 00 01 file not found

void at_modbus_recv_data(uint8_t * rxbuf, uint16_t rxlen)
{
	at_txsize = 0;
	bzero(modbus_tx_buf, sizeof(modbus_tx_buf));

	if((rxbuf[0] == 0x00) && (rxbuf[1] == 0x01))
	{
		if(rxbuf[2] == 'E')
				wifi_cmdflag = 1;
		else if(rxbuf[2] == 'R')
			wifi_cmdflag = 2;
		//else if(rxbuf[2] == 'W')
		//	wifi_cmdflag = 3;
		else if(rxbuf[2] == 'M')
			wifi_cmdflag = 4;
		else if(rxbuf[2] == 'D')
			wifi_cmdflag = 5;
		else if(rxbuf[2] == 'F')
			wifi_cmdflag = 6;
		else if(rxbuf[2] == 'A')
			wifi_cmdflag = 7;
		//else if(rxbuf[2] == 'S')
			//wifi_cmdflag = 8;

		modbus_tx_buf[0] = 0x00;
		modbus_tx_buf[1] = 0x03;
		modbus_tx_buf[2] = 0x00;
		modbus_tx_buf[3] = 0x01;
		if(wifi_cmdflag == 0x02)
		{
			wifi_sn = 0;
			modbus_tx_buf[3] = 0x00;
			memcpy(modbus_tx_buf + 4, FLASH_PROGRAM_ADDR, 512);
			at_txsize = 512 + 4;
			printf("wifi_cmdflag start read %s\n", rxbuf+2);
		}
		else if(wifi_cmdflag == 0x07)
		{
			wifi_sn = 0;
			modbus_tx_buf[3] = 0x00;
			memcpy(modbus_tx_buf + 4, FLASH_PROGRAM_ADDR, 512);
			at_txsize = 512 + 4;
			printf("wifi_cmdflag start read all %s\n", rxbuf+2);
		}
		else if(wifi_cmdflag == 0x04){
			printf("wifi_cmdflag start md5 checksum\n");
			memcpy(modbus_tx_buf + 4, "wifi_md5\n", 9);
			at_txsize = 9 + 4;
		}
		else if(wifi_cmdflag == 0x05){
			printf("wifi_cmdflag return md5 checksum\n");
			for(int i=0; i<16; i++) {
				printf("%02x", wifi_decrypt[i]);
			}
			printf("\n");
			memcpy(modbus_tx_buf + 4, wifi_decrypt, 16);
			at_txsize = 16 + 4;
		}
		else if(wifi_cmdflag == 0x06){
			uint32_t filebytes = 0;
			uint8_t numbuf[12];
			bzero(numbuf, sizeof(numbuf));
			filebytes = *(__IO uint32_t*)(FLASH_FILESIZE_ADDR);
			sprintf(numbuf, "%d\n", filebytes);
			printf("wifi filebytes = %d\n", filebytes, filebytes);
			memcpy(modbus_tx_buf + 4, numbuf, strlen(numbuf));
			at_txsize = strlen(numbuf);
			at_txsize = at_txsize + 4;
		}
		else if(wifi_cmdflag == 0x01){
			memcpy(modbus_tx_buf + 4, "wifi_erase\n", 11);
			at_txsize = 11 + 4;
			printf("wifi start erase\n");
		}
	}
	else if((rxbuf[0] == 0x00) && (rxbuf[1] == 0x02))
	{
		if(rxbuf[2] == 'W')
			wifi_cmdflag = 3;
		else if(rxbuf[2] == 'S')
			wifi_cmdflag = 8;

		printf("wifi file:%c wifi_cmdflag=%d\n", rxbuf[2], wifi_cmdflag);
		modbus_tx_buf[0] = 0x00;
		modbus_tx_buf[1] = 0x04;
		modbus_tx_buf[2] = 0x00;
		modbus_tx_buf[3] = 0x00;
		at_txsize = 4;
		wifi_wsn = 0;
	}
	else if((rxbuf[0] == 0x00) && (rxbuf[1] == 0x03))
	{
		modbus_tx_buf[0] = 0x00;
		modbus_tx_buf[1] = 0x04;
		modbus_tx_buf[2] = rxbuf[2];
		modbus_tx_buf[3] = rxbuf[3];
		if(wifi_cmdflag == 0x03){
			wifi_ota_flag = 0x33;
			at_txsize = 4;
		}
		else if(wifi_cmdflag == 0x08){
			wifi_ota_flag = 0x77;
			at_txsize = 4;
		}
		else
		{
			if((wifi_wsn + 1) == (rxbuf[2] * 256 + rxbuf[3]))
			{
				wifi_wsn = wifi_wsn + 1;
				uint32_t datalen = rxlen - 4;
				memcpy(wifi_tftpbuf, rxbuf + 4, datalen);
				//printf("wifi_count = %d datalen = %d\n", wifi_count, datalen);
				wifi_flashaddr = writedata_to_flash(wifi_tftpbuf, datalen, wifi_flashaddr);
				wifi_count = wifi_count + datalen;
				if(datalen < 512)
				{
					printf("wifi_wsn = %d wifi_count = %d datalen = %d\n", wifi_wsn, wifi_count, datalen);
					wifi_ota_flag = 0x3F;
					wifi_writesize = wifi_count;
					wifi_readsize = wifi_count;
					wifi_count = 0;
					wifi_cmdflag = 0;
				}

			}
			else
				printf("wifi_wsn = %d\n", wifi_wsn);
		}

		at_txsize = 4;

	}
	else if((rxbuf[0] == 0x00) && (rxbuf[1] == 0x04))
	{
		if((wifi_cmdflag == 0x02) || (wifi_cmdflag == 0x07))
		{
			//printf("ack rxbuf[2]=%d rxbuf[3]=%d wifi_cmdflag = %d \n", rxbuf[2], rxbuf[3], wifi_cmdflag);
			if(wifi_cmdflag == 0x02)
			{
				if(wifi_sn == (rxbuf[2] * 256 + rxbuf[3]))
				{
					wifi_sn++;
					wifi_readaddr += 512;
				}
				modbus_tx_buf[0] = 0x00;
				modbus_tx_buf[1] = 0x03;
				modbus_tx_buf[2] = wifi_sn / 256;
				modbus_tx_buf[3] = wifi_sn % 256;
				if(wifi_readaddr < (wifi_readsize - 512) )
				{
					memcpy(modbus_tx_buf + 4, FLASH_PROGRAM_ADDR + wifi_readaddr, 512);
					at_txsize = 512 + 4;
					//printf("2 wifi_readaddr = %d , wifi_readsize = %d\n", wifi_readaddr, wifi_readsize);
				}
				else if (wifi_readaddr < wifi_readsize)
				{
					memcpy(modbus_tx_buf + 4, FLASH_PROGRAM_ADDR + wifi_readaddr, wifi_readsize - wifi_readaddr);
					at_txsize = wifi_readsize - wifi_readaddr +4;
					printf("2 wifi_readaddr = %d , at_txsize = %d\n", wifi_readaddr, at_txsize);
					wifi_readaddr = 0;
					wifi_cmdflag = 0;
					wifi_sn  = 0;
				}
				else
				{
					printf("2 wifi_sn = %d\n", wifi_sn); // last ack no return data
					at_txsize = 0;
				}
			}

			else if(wifi_cmdflag == 0x07)
			{
				if(wifi_sn == (rxbuf[2] * 256 + rxbuf[3]))
				{
					wifi_sn++;
					wifi_readaddr += 512;
				}
				modbus_tx_buf[0] = 0x00;
				modbus_tx_buf[1] = 0x03;
				modbus_tx_buf[2] = wifi_sn / 256;
				modbus_tx_buf[3] = wifi_sn % 256;
				if(wifi_readaddr < (0xE0000 - 512) )
				{
					memcpy(modbus_tx_buf + 4, FLASH_PROGRAM_ADDR + wifi_readaddr, 512);
					at_txsize = 512 + 4;
				}
				else if (wifi_readaddr < wifi_readsize)
				{
					memcpy(modbus_tx_buf + 4, FLASH_PROGRAM_ADDR + wifi_readaddr, 0xE0000 - wifi_readaddr - 1);
					at_txsize = 0xE0000 - wifi_readaddr - 1 + 4;
					printf("7 wifi_readaddr = %d , at_txsize = %d\n", wifi_readaddr, at_txsize);
					wifi_readaddr = 0;
					wifi_cmdflag = 0;
					wifi_sn  = 0;
				}
				else
				{
					printf("7 wifi_sn = %d\n", wifi_sn); // last ack no return data
					at_txsize = 0;
				}
			}

		}
	}
	else if((rxbuf[0] == 0x00) && (rxbuf[1] == 0x05))
	{
		printf("wifi tftp error\n");
	}
	//memcpy(modbus_tx_buf, rxbuf, at_txsize);
	at_state_tx = STATE_AT_CIPTRANS_TX;

}

void wifi_at_proc(uint8_t * rxbuf, uint16_t rxlen)
{
	switch(at_state_rx)
	{
		case STATE_AT_3PLUS_TX:// 0
			at_state_tx = STATE_AT_RST_TX;
		break;
		case STATE_AT_CWMODE_GET_TX:// 2
			at_state_tx = at_cwmode_get_proc(rxbuf);
		break;
		case STATE_AT_CWMODE_SET_TX:// 3
			vTaskDelay(3000);
			at_state_tx = STATE_AT_CWMODE_GET_TX;
		break;
		case STATE_AT_CIPMODE_GET_TX:// 4
			at_state_tx = at_cipmode_get_proc(rxbuf);
		break;
		case STATE_AT_CIPMODE_SET_TX:// 5
			vTaskDelay(3000);
			at_state_tx = STATE_AT_CIPMODE_GET_TX;
		break;
		case STATE_AT_CIFSR_TX:// 6
			at_state_tx = at_cifsr_proc(rxbuf);
		break;
		case STATE_AT_CIPSTATUS_TX:// 7
			at_state_tx = at_cipstatus_proc(rxbuf);
		break;
		case STATE_AT_CWJAP_TX:// 8
			at_state_tx = STATE_AT_CIPSTATUS_TX;
		break;
		case STATE_AT_CIPSTART_TX:// 9
			at_state_tx = STATE_AT_CIPSTATUS_TX;
		break;
		case STATE_AT_CIPSEND_TX:// 10
			at_state_tx = at_cipsend_proc(rxbuf);
		break;
		case STATE_AT_CIPTRANS_TX:// 11
			at_modbus_recv_data(rxbuf, rxlen);
		break;
		case STATE_AT_PLUS3_TX:// 12
			at_state_rx = STATE_AT_CIPSTATUS_TX;
		break;
		default:break;
	}

	if(STATE_AT_CIPTRANS_TX > at_state_rx)
	{
		if(string_compare(rxbuf, at_closed_str, at_error_str, at_wifi_getip_str, at_conn_str)) // tcp close
			at_state_tx = STATE_AT_CIPMODE_GET_TX;
	}
}

/* USER CODE END 4 */

void StartDefaultTask(void *argument)
{
  /* init code for LWIP */
  MX_LWIP_Init();
  /* USER CODE BEGIN 5 */
  BaseType_t  ret;
  ret = xTaskCreate(wifiClientTask, "wifiClientTask", 512, NULL, 6, &wifiClientTaskHandle);
  if (ret != pdTRUE)
  {
    printf("wifiClientTask create err\r\n");
  }

    ota_flag = *(__IO uint8_t*)(FLASH_OTAFLAG_ADDR);
    readsize = *(__IO uint32_t*)(FLASH_FILESIZE_ADDR);
    printf("reset ota_flag = %d\n", ota_flag);
    printf("reset readsize = %d\n", readsize);

  tftp_init(&tftp);

  HAL_GPIO_WritePin(GPIOD, GPIO_PIN_0, GPIO_PIN_SET);  	osDelay(250);
  HAL_GPIO_WritePin(GPIOD, GPIO_PIN_1, GPIO_PIN_SET);  	osDelay(250);
  HAL_GPIO_WritePin(GPIOD, GPIO_PIN_3, GPIO_PIN_SET);  	osDelay(250);
  HAL_GPIO_WritePin(GPIOD, GPIO_PIN_4, GPIO_PIN_SET);  	osDelay(250);
#if 1
  /* Infinite loop */
  uint8_t cnt = 0;
  for(;;)
  {
	 osDelay(250);

     if(cmdflag == 0x01){
		 ota_flag = 0x30;
		 cmdflag = 0;
	 }

     if(cmdflag == 0x04){
		int i, k, len;
		unsigned char encrypt[1024];
		MD5_CTX md5;

		readsize = *(__IO uint32_t*)(FLASH_FILESIZE_ADDR);
		printf("readsize= %d\n", readsize);

		if(readsize <= 0x00040000){
			printf("md5 checking\n");
			MD5Init(&md5);

			for(i = 0; i < readsize - 1024; i = i + 1024){
				memcpy(encrypt, (uint8_t*)(FLASH_PROGRAM_ADDR + i), 1024);
				//for(k=0; k<1024; k++) {
				//	printf("%02x", encrypt[k]);
				//}
				//printf(" i = %d\n", i);
				MD5Update(&md5, encrypt, 1024);
			}
			printf("i = %d\n", i);
			printf("readsize - i = %d\n", readsize - i);

			memcpy(encrypt, (uint8_t*)(FLASH_PROGRAM_ADDR + i), readsize - i);
			for(k=0; k<(readsize - i); k++) {
				printf("%02x", encrypt[k]);
			}
			printf(" i = %d\n", i);
			MD5Update(&md5, encrypt, readsize - i);

			MD5Final(&md5, decrypt);
		}

		for(i=0; i<16; i++) {
			printf("%02x", decrypt[i]);
		}
		printf("\n");

		cmdflag = 0;
     }

	 if(ota_flag == 0x11)
	 {
		 HAL_GPIO_WritePin(GPIOD, GPIO_PIN_3, GPIO_PIN_RESET);  	osDelay(250);
		 erase_flash(5, 6);
		 printf("erase ok block 5 and block 6 \n");
		 ota_flag = *(__IO uint8_t*)(FLASH_OTAFLAG_ADDR);
		 printf("ota_flag = %X\n", ota_flag);
	 }
	 else if(ota_flag == 0xFF)
	 {
		 HAL_GPIO_WritePin(GPIOD, GPIO_PIN_4, GPIO_PIN_RESET);  osDelay(250);
		 ota_flag = 0x7F;
		 printf("wait write or read ok \n");
	 }
	 else if(ota_flag == 0x7F)
	 {
		 HAL_GPIO_WritePin(GPIOD, GPIO_PIN_4, GPIO_PIN_RESET);  osDelay(250);
		 HAL_GPIO_WritePin(GPIOD, GPIO_PIN_4, GPIO_PIN_SET);  osDelay(250);
	 }
	 else if(ota_flag == 0x3F)
	 {
		 printf("writesize = %d\n", writesize);
		 writedata_to_flash(&writesize, 4, FLASH_FILESIZE_ADDR);
		 printf("readsize = %d\n", readsize);
		 readsize = *(__IO uint32_t*)(FLASH_FILESIZE_ADDR);
		 printf("readsize = %d\n", readsize);
		 ota_flag = 0x37;
	 }
	 else if(ota_flag == 0x37)
	 {
		 HAL_GPIO_WritePin(GPIOD, GPIO_PIN_4, GPIO_PIN_RESET);  osDelay(250);
		 HAL_GPIO_WritePin(GPIOD, GPIO_PIN_4, GPIO_PIN_SET);  osDelay(250);
	 }
	 else if(ota_flag == 0x33)
	 {
		ota_flag = *(__IO uint8_t*)(FLASH_OTAFLAG_ADDR);
		printf("read ota_flag = %X\n", ota_flag);
		ota_flag = 0x33;
		writedata_to_flash(&ota_flag, 1, FLASH_OTAFLAG_ADDR);
		ota_flag = *(__IO uint8_t*)(FLASH_OTAFLAG_ADDR);
		printf("write ota_flag = %X\n", ota_flag);
		printf("reset device for bootloader to app\n");
		osDelay(1000);printf("3\n");
		osDelay(1000);printf("2\n");
		osDelay(1000);printf("1\n");
		osDelay(1000);printf("0\n");
		osDelay(1000);printf(".\n");
		HAL_NVIC_SystemReset();
	 }
	 else if(ota_flag == 0x77)
	 {
		printf("reset device\n");
		osDelay(1000);printf("3\n");
		osDelay(1000);printf("2\n");
		osDelay(1000);printf("1\n");
		osDelay(1000);printf("0\n");
		osDelay(1000);printf(".\n");
		HAL_NVIC_SystemReset();
	 }
	 else
	 {
		 ota_flag = 0x11;
	 }

  }
#else
  while(1){osDelay(200);}
#endif
  /* USER CODE END 5 */
}

void Error_Handler(void)
{
  __disable_irq();
  while (1)
  {
  }
}

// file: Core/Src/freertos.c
/* USER CODE BEGIN Header */
/**
  ******************************************************************************
  * File Name          : freertos.c
  * Description        : Code for freertos applications
  ******************************************************************************
  * @attention
  *
  * Copyright (c) 2023 STMicroelectronics.
  * All rights reserved.
  *
  * This software is licensed under terms that can be found in the LICENSE file
  * in the root directory of this software component.
  * If no LICENSE file comes with this software, it is provided AS-IS.
  *
  ******************************************************************************
  */
/* USER CODE END Header */

#include "FreeRTOS.h"
#include "task.h"
#include "main.h"

/* Hook prototypes */
void vApplicationIdleHook(void);
void vApplicationTickHook(void);

/* USER CODE BEGIN 2 */
void vApplicationIdleHook( void )
{
   /* vApplicationIdleHook() will only be called if configUSE_IDLE_HOOK is set
   to 1 in FreeRTOSConfig.h. It will be called on each iteration of the idle
   task. It is essential that code added to this hook function never attempts
   to block in any way (for example, call xQueueReceive() with a block time
   specified, or call vTaskDelay()). If the application makes use of the
   vTaskDelete() API function (as this demo application does) then it is also
   important that vApplicationIdleHook() is permitted to return to its calling
   function, because it is the responsibility of the idle task to clean up
   memory allocated by the kernel to any task that has since been deleted. */
}
/* USER CODE END 2 */

/* USER CODE BEGIN 3 */
void vApplicationTickHook( void )
{
   /* This function will be called by each tick interrupt if
   configUSE_TICK_HOOK is set to 1 in FreeRTOSConfig.h. User code can be
   added here, but the tick hook is called from an interrupt context, so
   code must not attempt to block, and only the interrupt safe FreeRTOS API
   functions can be used (those that end in FromISR()). */
}
/* USER CODE END 3 */
